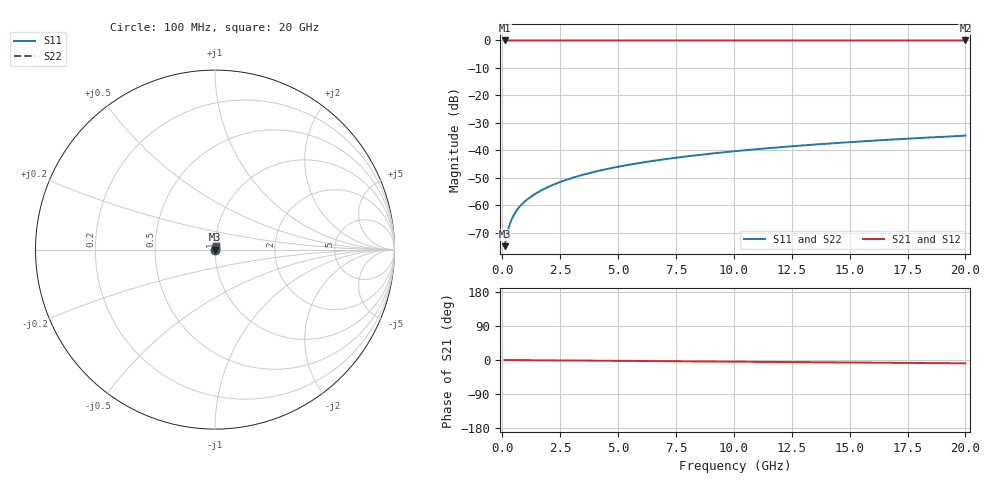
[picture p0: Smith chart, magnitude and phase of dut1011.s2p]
! Touchstone file exported from HFSS 2026.1.0
!  File:  C:/ffzhzh/LocalFiles/Ansys_Project_Files/temp_train_TSV_1011_1783188643_18472.aedt
!  Generated:  02:12:18 AM Jul  5, 2026
!  Design:  TSV
!  Project:  temp_train_TSV_1011_1783188643_18472
! Variables:
!  h_bsmrdl = 2um
!  h_ox = 20um
!  h_rdl = 5um
!  h_sub = 85.93um
!  h_tmrdl = 5um
!  h_tsv = 85.93um
!  h_via = 3um
!  l_bsmrdl = 300um
!  l_sub = 421.92um
!  l_tmrdl = 200um
!  m_sub = 200um
!  pitch = 50.55um
!  r_tsv = 10.96um
!  s_tmrdl = 10um
!  w_bsmrdl = 18um
!  w_sub = 500um
!  w_tmrdl = 12um
!  x_tsv_center1 = 206um
!  x_tsv_center2 = 524um
!  x_tsv_center3 = 736um
!  x_tsv_center4 = 1054um
!  x_tsv_center5 = 1266um
!  x_tsv_center6 = 1584um
# GHz S MA R 50.000000
! Terminal data exported
! Port[1] = TSV1_1_T1
! Port[2] = TSV1_1_T2
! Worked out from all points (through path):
!   200 points, 100 MHz to 20 GHz, reference 50 ohm
!   highest |S21| = 0.00 dB at 100 MHz (marker M1); lowest = 0.0 dB at 20 GHz (marker M2)
!   group delay of S21, straight-line fit = 1.21 ps
!   lowest |S11| = -75.0 dB at 100 MHz (marker M3), VSWR 1.00, Z = 50 + j0.0136 ohm
!   |S11| at or under -10 dB: start of sweep to end of sweep
!   |S22| runs from -75.0 to -34.7 dB; largest |S21 - S12| = 3.1e-15
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0.1  0.0001783 49.6  0.9999 -0.0  0.9999 -0.0  0.0001783 49.6
! Gamma 0 0 0 0
! Port Impedance 50 0 50 0
0.2  0.0002975 64.5  0.9999 -0.1  0.9999 -0.1  0.0002975 64.5
0.3  0.0004227 69.7  0.9999 -0.1  0.9999 -0.1  0.0004227 69.7
0.4  0.0005452 71.9  0.9998 -0.2  0.9998 -0.2  0.0005452 71.9
0.5  0.000663 73.0  0.9998 -0.2  0.9998 -0.2  0.000663 73.0
0.6  0.0007759 73.6  0.9998 -0.3  0.9998 -0.3  0.0007759 73.6
0.7  0.0008845 74.1  0.9998 -0.3  0.9998 -0.3  0.0008845 74.1
0.9  0.001092 74.8  0.9997 -0.4  0.9997 -0.4  0.001092 74.8
1.1  0.00129 75.5  0.9997 -0.5  0.9997 -0.5  0.00129 75.5
1.3  0.001485 76.2  0.9997 -0.6  0.9997 -0.6  0.001485 76.2
1.6  0.001773 77.1  0.9996 -0.7  0.9996 -0.7  0.001773 77.1
1.9  0.002059 77.9  0.9996 -0.8  0.9996 -0.8  0.002059 77.9
2.6  0.002728 79.2  0.9995 -1.2  0.9995 -1.2  0.002728 79.2
3.5  0.003584 80.1  0.9995 -1.5  0.9995 -1.5  0.003584 80.1
4.2  0.004244 80.4  0.9994 -1.9  0.9994 -1.9  0.004244 80.4
5  0.004992 80.6  0.9994 -2.2  0.9994 -2.2  0.004992 80.6
6.8  0.006652 80.7  0.9992 -3.0  0.9992 -3.0  0.006652 80.7
8.3  0.008018 80.5  0.9992 -3.6  0.9992 -3.6  0.008018 80.5
10.1  0.009644 80.2  0.9991 -4.4  0.9991 -4.4  0.009644 80.2
13.4  0.0126 79.5  0.9989 -5.9  0.9989 -5.9  0.0126 79.5
16.7  0.01552 78.5  0.9987 -7.3  0.9987 -7.3  0.01552 78.5
20  0.0184 77.3  0.9986 -8.8  0.9986 -8.8  0.0184 77.3
